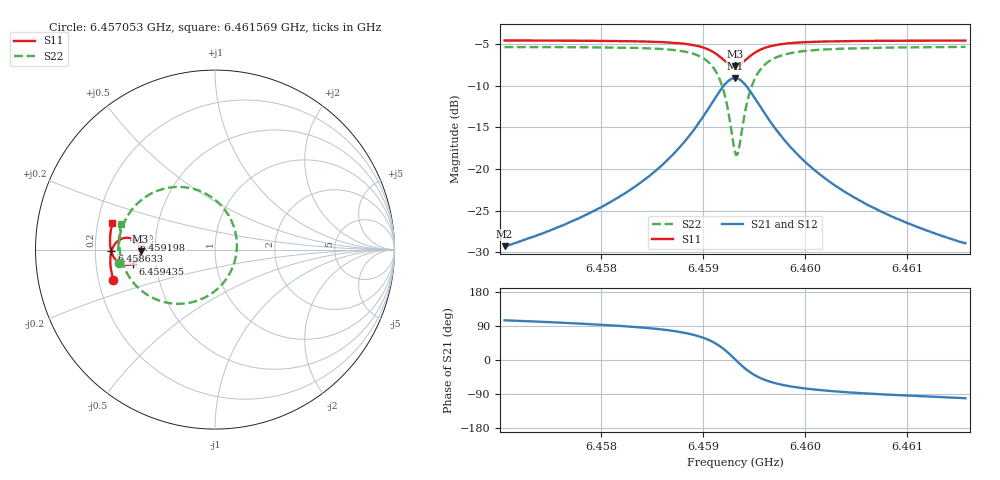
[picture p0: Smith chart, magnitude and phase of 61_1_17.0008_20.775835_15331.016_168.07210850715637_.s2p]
#  HZ  S  RI  R  50.00
! Rohde & Schwarz Vector Network Analyzer
! Rohde-Schwarz,ZNB20-2Port,1311601062101988,3.16
! Created: UTC 3/20/2024, 10:54:48 PM
! freq[Hz]  re:S11  im:S11  re:S21  im:S21  re:S12  im:S12  re:S22  im:S22
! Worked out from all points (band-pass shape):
!   401 points, 6.457053 GHz to 6.461569 GHz, reference 50 ohm
!   highest |S21| = -9.08 dB at 6.459311 GHz (marker M1); lowest = -29.3 dB at 6.457053 GHz (marker M2)
!   |S21| within 3 dB of the highest: 6.459084 GHz to 6.459536 GHz (451.6 kHz wide, 0.00699 % of centre)
!   lowest |S11| = -7.7 dB at 6.459311 GHz (marker M3), VSWR 2.42, Z = 20.7 - j0.505 ohm
!   |S11| at or under -10 dB: nowhere
!   |S22| runs from -18.3 to -5.3 dB; largest |S21 - S12| = 0.014
!   S11 on the Smith chart (normalised r, x): 6.457053 GHz: 0.26, -0.14; 6.458633 GHz: 0.27, -0.01; 6.459198 GHz: 0.38, +0.05; 6.459435 GHz: 0.37, -0.07; 6.461569 GHz: 0.26, +0.12
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6.4570529e9  -0.5676 -0.1678  -0.00877 0.0333  -0.00702 0.0331  -0.5349 -0.0773
6.4578092e9  -0.581 -0.1011  -0.00522 0.0514  -0.00272 0.0508  -0.5389 0.0125
6.4582269e9  -0.5836 -0.0589  0.000836 0.0712  0.00422 0.0697  -0.5298 0.0799
6.4585656e9  -0.5794 -0.0179  0.0151 0.1005  0.0191 0.0977  -0.5032 0.1578
6.4586333e9  -0.5771 -0.00854  0.0206 0.109  0.0247 0.1057  -0.4929 0.1778
6.4588253e9  -0.5641 0.022  0.0479 0.1404  0.052 0.1353  -0.4417 0.2473
6.458972e9  -0.5407 0.0484  0.0942 0.1711  0.0973 0.1643  -0.3563 0.3118
6.4591075e9  -0.4961 0.0657  0.1833 0.1873  0.1841 0.18  -0.1936 0.3492
6.4591978e9  -0.4505 0.0547  0.2747 0.1547  0.2748 0.149  -0.0245 0.2957
6.4592655e9  -0.4211 0.0217  0.3355 0.0809  0.3379 0.0756  0.0912 0.1621
6.4593107e9  -0.4143 -0.0101  0.3515 0.0116  0.3554 0.00457  0.122 0.0324
6.4593446e9  -0.4185 -0.0344  0.3451 -0.0416  0.3491 -0.0511  0.1088 -0.0686
6.4593897e9  -0.4346 -0.061  0.3154 -0.1023  0.3177 -0.1145  0.0486 -0.1827
6.4594349e9  -0.4572 -0.0775  0.2723 -0.1436  0.2715 -0.157  -0.0388 -0.2575
6.4595252e9  -0.5014 -0.0846  0.1861 -0.1743  0.1797 -0.1861  -0.2104 -0.3021
6.4595929e9  -0.5259 -0.0771  0.1369 -0.1721  0.1289 -0.1809  -0.3049 -0.2858
6.4596719e9  -0.5458 -0.0639  0.0969 -0.1596  0.0884 -0.1659  -0.3797 -0.2502
6.45983e9  -0.5677 -0.0362  0.0517 -0.131  0.0439 -0.1338  -0.4604 -0.1768
6.4600671e9  -0.5806 -0.000697  0.0222 -0.0989  0.0164 -0.0994  -0.5083 -0.0934
6.4603944e9  -0.5853 0.0388  0.00653 -0.0723  0.00235 -0.0717  -0.5292 -0.0161
6.4608234e9  -0.5835 0.0823  -0.00139 -0.0527  -0.0044 -0.0518  -0.5336 0.0543
6.4615685e9  -0.5719 0.1487  -0.00675 -0.0352  -0.00829 -0.0342  -0.5223 0.1433
